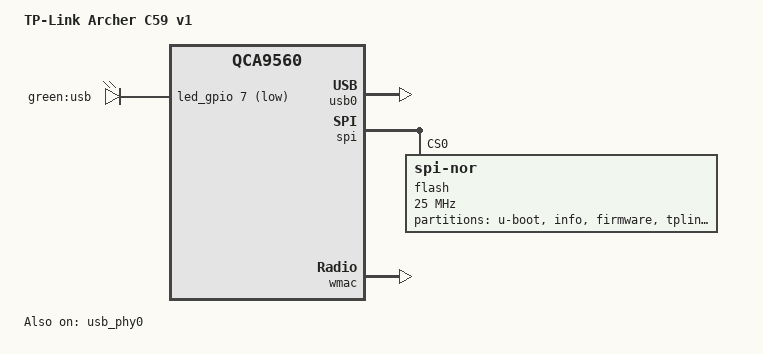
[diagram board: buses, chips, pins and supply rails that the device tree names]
// SPDX-License-Identifier: GPL-2.0-or-later OR MIT

#include "qca9561_tplink_archer-c5x.dtsi"

/ {
	compatible = "tplink,archer-c59-v1", "qca,qca9560";
	model = "TP-Link Archer C59 v1";

	aliases {
		label-mac-device = &eth1;
	};
};

&leds {
	usb {
		label = "green:usb";
		gpios = <&led_gpio 7 GPIO_ACTIVE_LOW>;
		linux,default-trigger = "usbport";
		trigger-sources = <&hub_port>;
	};
};

&usb0 {
	#address-cells = <1>;
	#size-cells = <0>;
	status = "okay";

	hub_port: port@1 {
		reg = <1>;
		#trigger-source-cells = <0>;
	};
};

&usb_phy0 {
	status = "okay";
};

&spi {
	status = "okay";

	flash@0 {
		compatible = "jedec,spi-nor";
		reg = <0>;
		spi-max-frequency = <25000000>;

		partitions {
			compatible = "fixed-partitions";
			#address-cells = <1>;
			#size-cells = <1>;

			partition@0 {
				label = "u-boot";
				reg = <0x000000 0x010000>;
				read-only;
			};

			info: partition@10000 {
				label = "info";
				reg = <0x010000 0x010000>;
				read-only;
			};

			partition@20000 {
				compatible = "denx,uimage";
				label = "firmware";
				reg = <0x020000 0xe30000>;
			};

			partition@e50000 {
				label = "tplink";
				reg = <0xe50000 0x1a0000>;
				read-only;
			};

			art: partition@ff0000 {
				label = "art";
				reg = <0xff0000 0x010000>;
				read-only;
			};
		};
	};
};

&eth0 {
	nvmem-cells = <&macaddr_info_8>;
	nvmem-cell-names = "mac-address";
	mac-address-increment = <1>;
};

&eth1 {
	nvmem-cells = <&macaddr_info_8>;
	nvmem-cell-names = "mac-address";
};

&wmac {
	mtd-cal-data = <&art 0x1000>;

	nvmem-cells = <&macaddr_info_8>;
	nvmem-cell-names = "mac-address";
};

&info {
	compatible = "nvmem-cells";
	#address-cells = <1>;
	#size-cells = <1>;

	macaddr_info_8: macaddr@8 {
		reg = <0x8 0x6>;
	};
};
